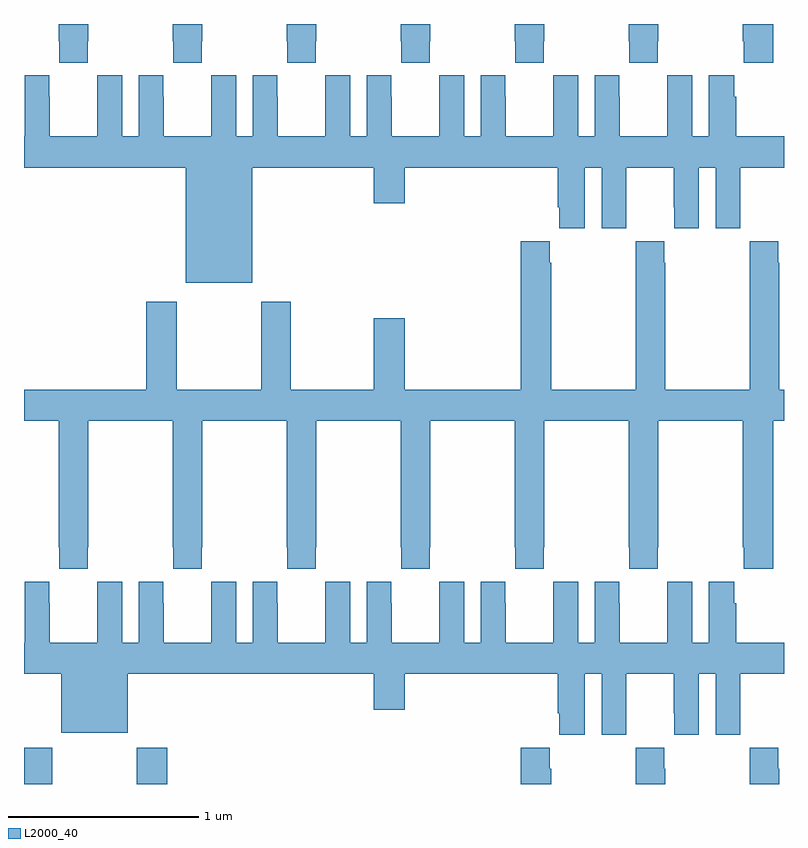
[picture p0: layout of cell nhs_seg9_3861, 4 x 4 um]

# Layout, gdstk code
import gdstk
lib = gdstk.Library(unit=1e-6, precision=1e-09)
def R(c, l, rs):  # rectangles x0, y0, x1, y1
    for r in rs: c.add(gdstk.rectangle(r[:2], r[2:], *l))
def P(c, l, *ps):  # polygons
    for p in ps: c.add(gdstk.Polygon(p, *l))
L2000_40 = (2000, 40)

nhs_seg9_3861 = lib.new_cell('nhs_seg9_3861')
R(nhs_seg9_3861, L2000_40, [(331,1202.5,331.149,1202.692), (331.594,1202.5,331.754,1202.692)])
P(nhs_seg9_3861, L2000_40, [(331.935,1206.409),(331.938,1206.409),(331.938,1206.5),(331.783,1206.5),(331.783,1206.409),(331.785,1206.409),(331.785,1206.297),(331.935,1206.297)],
  [(332.535,1206.409),(332.538,1206.409),(332.538,1206.5),(332.383,1206.5),(332.383,1206.409),(332.385,1206.409),(332.385,1206.297),(332.535,1206.297)],
  [(333.135,1206.409),(333.138,1206.409),(333.138,1206.5),(332.983,1206.5),(332.983,1206.409),(332.985,1206.409),(332.985,1206.297),(333.135,1206.297)],
  [(333.735,1206.409),(333.738,1206.409),(333.738,1206.5),(333.583,1206.5),(333.583,1206.409),(333.585,1206.409),(333.585,1206.297),(333.735,1206.297)],
  [(334.335,1206.409),(334.338,1206.409),(334.338,1206.5),(334.183,1206.5),(334.183,1206.409),(334.185,1206.409),(334.185,1206.297),(334.335,1206.297)],
  [(334.943,1206.5),(334.783,1206.5),(334.783,1206.409),(334.789,1206.409),(334.789,1206.297),(334.943,1206.297)],
  [(331.335,1206.409),(331.338,1206.409),(331.338,1206.5),(331.183,1206.5),(331.183,1206.409),(331.185,1206.409),(331.185,1206.297),(331.335,1206.297)],
  [(332.84,1205.556),(333.004,1205.556),(333.004,1205.744),(333.809,1205.744),(333.809,1205.536),(333.818,1205.536),(333.818,1205.424),(333.952,1205.424),(333.952,1205.744),(334.04,1205.744),(334.04,1205.424),(334.17,1205.424),(334.17,1205.536),(334.171,1205.536),(334.171,1205.744),(334.421,1205.744),(334.421,1205.536),(334.422,1205.536),(334.422,1205.424),(334.552,1205.424),(334.552,1205.744),(334.64,1205.744),(334.64,1205.424),(334.77,1205.424),(334.77,1205.536),(334.771,1205.536),(334.771,1205.744),(335,1205.744),(335,1205.908),(334.748,1205.908),(334.748,1206.116),(334.738,1206.116),(334.738,1206.229),(334.604,1206.229),(334.604,1205.908),(334.516,1205.908),(334.516,1206.229),(334.386,1206.229),(334.386,1206.116),(334.385,1206.116),(334.385,1205.908),(334.135,1205.908),(334.135,1206.116),(334.134,1206.116),(334.134,1206.229),(334.004,1206.229),(334.004,1205.908),(333.916,1205.908),(333.916,1206.229),(333.786,1206.229),(333.786,1206.116),(333.785,1206.116),(333.785,1205.908),(333.535,1205.908),(333.535,1206.116),(333.534,1206.116),(333.534,1206.229),(333.404,1206.229),(333.404,1205.908),(333.316,1205.908),(333.316,1206.229),(333.186,1206.229),(333.186,1206.116),(333.185,1206.116),(333.185,1205.908),(332.935,1205.908),(332.935,1206.116),(332.934,1206.116),(332.934,1206.229),(332.804,1206.229),(332.804,1205.908),(332.716,1205.908),(332.716,1206.229),(332.586,1206.229),(332.586,1206.116),(332.585,1206.116),(332.585,1205.908),(332.335,1205.908),(332.335,1206.116),(332.334,1206.116),(332.334,1206.229),(332.204,1206.229),(332.204,1205.908),(332.116,1205.908),(332.116,1206.229),(331.986,1206.229),(331.986,1206.116),(331.985,1206.116),(331.985,1205.908),(331.735,1205.908),(331.735,1206.116),(331.734,1206.116),(331.734,1206.229),(331.604,1206.229),(331.604,1205.908),(331.516,1205.908),(331.516,1206.229),(331.386,1206.229),(331.386,1206.116),(331.385,1206.116),(331.385,1205.908),(331.135,1205.908),(331.135,1206.116),(331.134,1206.116),(331.134,1206.229),(331.004,1206.229),(331.004,1205.908),(331,1205.908),(331,1205.744),(331.85,1205.744),(331.85,1205.138),(332.2,1205.138),(332.2,1205.744),(332.84,1205.744)],
  [(331.335,1203.745),(331.338,1203.745),(331.338,1204.412),(331.783,1204.412),(331.783,1203.745),(331.785,1203.745),(331.785,1203.633),(331.935,1203.633),(331.935,1203.745),(331.938,1203.745),(331.938,1204.412),(332.383,1204.412),(332.383,1203.745),(332.385,1203.745),(332.385,1203.633),(332.535,1203.633),(332.535,1203.745),(332.538,1203.745),(332.538,1204.412),(332.983,1204.412),(332.983,1203.745),(332.985,1203.745),(332.985,1203.633),(333.135,1203.633),(333.135,1203.745),(333.138,1203.745),(333.138,1204.412),(333.583,1204.412),(333.583,1203.745),(333.585,1203.745),(333.585,1203.633),(333.735,1203.633),(333.735,1203.745),(333.738,1203.745),(333.738,1204.412),(334.183,1204.412),(334.183,1203.745),(334.185,1203.745),(334.185,1203.633),(334.335,1203.633),(334.335,1203.745),(334.338,1203.745),(334.338,1204.412),(334.783,1204.412),(334.783,1203.745),(334.789,1203.745),(334.789,1203.633),(334.943,1203.633),(334.943,1204.412),(335,1204.412),(335,1204.576),(334.974,1204.576),(334.974,1205.243),(334.971,1205.243),(334.971,1205.356),(334.821,1205.356),(334.821,1205.243),(334.819,1205.243),(334.819,1204.576),(334.374,1204.576),(334.374,1205.243),(334.371,1205.243),(334.371,1205.356),(334.221,1205.356),(334.221,1205.243),(334.219,1205.243),(334.219,1204.576),(333.774,1204.576),(333.774,1205.243),(333.767,1205.243),(333.767,1205.356),(333.614,1205.356),(333.614,1204.576),(333.004,1204.576),(333.004,1204.951),(332.84,1204.951),(332.84,1204.576),(332.403,1204.576),(332.403,1205.038),(332.248,1205.038),(332.248,1204.576),(331.803,1204.576),(331.803,1205.038),(331.643,1205.038),(331.643,1204.576),(331,1204.576),(331,1204.412),(331.183,1204.412),(331.183,1203.745),(331.185,1203.745),(331.185,1203.633),(331.335,1203.633)],
  [(333.786,1203.452),(333.785,1203.452),(333.785,1203.244),(333.535,1203.244),(333.535,1203.452),(333.534,1203.452),(333.534,1203.565),(333.404,1203.565),(333.404,1203.244),(333.316,1203.244),(333.316,1203.565),(333.186,1203.565),(333.186,1203.452),(333.185,1203.452),(333.185,1203.244),(332.935,1203.244),(332.935,1203.452),(332.934,1203.452),(332.934,1203.565),(332.804,1203.565),(332.804,1203.244),(332.716,1203.244),(332.716,1203.565),(332.586,1203.565),(332.586,1203.452),(332.585,1203.452),(332.585,1203.244),(332.335,1203.244),(332.335,1203.452),(332.334,1203.452),(332.334,1203.565),(332.204,1203.565),(332.204,1203.244),(332.116,1203.244),(332.116,1203.565),(331.986,1203.565),(331.986,1203.452),(331.985,1203.452),(331.985,1203.244),(331.735,1203.244),(331.735,1203.452),(331.734,1203.452),(331.734,1203.565),(331.604,1203.565),(331.604,1203.244),(331.516,1203.244),(331.516,1203.565),(331.386,1203.565),(331.386,1203.452),(331.385,1203.452),(331.385,1203.244),(331.135,1203.244),(331.135,1203.452),(331.134,1203.452),(331.134,1203.565),(331.004,1203.565),(331.004,1203.244),(331,1203.244),(331,1203.08),(331.196,1203.08),(331.196,1202.771),(331.546,1202.771),(331.546,1203.08),(332.84,1203.08),(332.84,1202.892),(333.004,1202.892),(333.004,1203.08),(333.809,1203.08),(333.809,1202.872),(333.818,1202.872),(333.818,1202.76),(333.952,1202.76),(333.952,1203.08),(334.04,1203.08),(334.04,1202.76),(334.17,1202.76),(334.17,1202.872),(334.171,1202.872),(334.171,1203.08),(334.421,1203.08),(334.421,1202.872),(334.422,1202.872),(334.422,1202.76),(334.552,1202.76),(334.552,1203.08),(334.64,1203.08),(334.64,1202.76),(334.77,1202.76),(334.77,1202.872),(334.771,1202.872),(334.771,1203.08),(335,1203.08),(335,1203.244),(334.748,1203.244),(334.748,1203.452),(334.738,1203.452),(334.738,1203.565),(334.604,1203.565),(334.604,1203.244),(334.516,1203.244),(334.516,1203.565),(334.386,1203.565),(334.386,1203.452),(334.385,1203.452),(334.385,1203.244),(334.135,1203.244),(334.135,1203.452),(334.134,1203.452),(334.134,1203.565),(334.004,1203.565),(334.004,1203.244),(333.916,1203.244),(333.916,1203.565),(333.786,1203.565)],
  [(333.774,1202.579),(333.767,1202.579),(333.767,1202.692),(333.614,1202.692),(333.614,1202.5),(333.774,1202.5)],
  [(334.374,1202.579),(334.371,1202.579),(334.371,1202.692),(334.221,1202.692),(334.221,1202.579),(334.219,1202.579),(334.219,1202.5),(334.374,1202.5)],
  [(334.974,1202.579),(334.971,1202.579),(334.971,1202.692),(334.821,1202.692),(334.821,1202.579),(334.819,1202.579),(334.819,1202.5),(334.974,1202.5)])

lib.write_gds('nhs_seg9_3861.gds')
